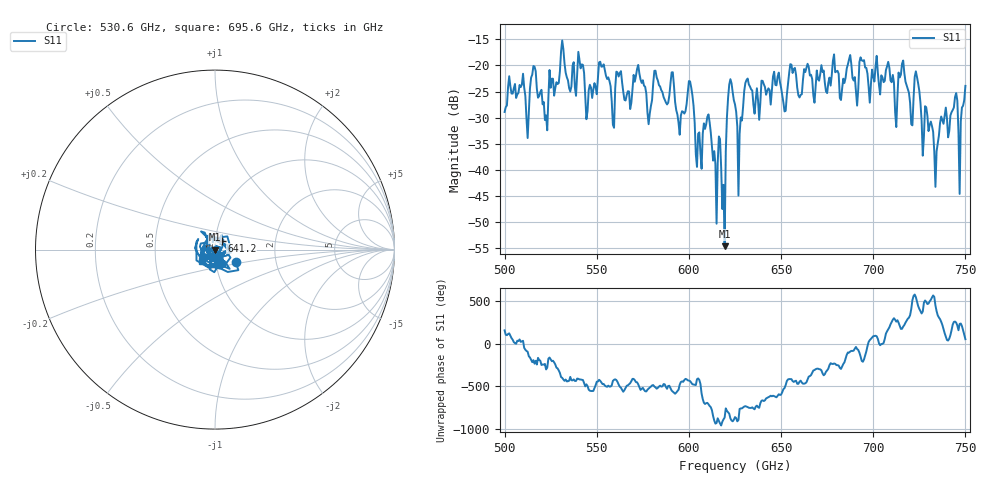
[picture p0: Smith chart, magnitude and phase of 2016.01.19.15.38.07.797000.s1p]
!Created with skrf (http://scikit-rf.org).
# GHz S RI R 50.0
!freq ReS11 ImS11
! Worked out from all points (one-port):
!   401 points, 500 GHz to 750 GHz, reference 50 ohm
!   lowest |S11| = -54.6 dB at 619.4 GHz (marker M1), VSWR 1.00, Z = 49.8 - j0.0958 ohm
!   |S11| at or under -10 dB: start of sweep to end of sweep
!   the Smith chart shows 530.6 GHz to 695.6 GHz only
!   S11 on the Smith chart (normalised r, x): 530.6 GHz: 1.25, -0.18; 641.2 GHz: 1.07, +0.11; 695.6 GHz: 0.86, -0.11
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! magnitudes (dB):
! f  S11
! 500 GHz  -28.9
! 512.5 GHz  -33.9
! 515.6 GHz  -20.1
! 521.9 GHz  -30.5
! 530.6 GHz  -17.4
! 531.2 GHz  -15.2
! 545 GHz  -28.7
! 562.5 GHz  -21.5
! 578.8 GHz  -29.2
! 590.6 GHz  -21.3
! 593.8 GHz  -29.4
! 600.6 GHz  -23.1
! 605 GHz  -33.1
! 610.6 GHz  -29.4
! 619.4 GHz  -54.6
! 621.9 GHz  -23.7
! 625 GHz  -27.5
! 627.5 GHz  -33.1
! 631.2 GHz  -22.8
! 641.2 GHz  -24.1
! 656.2 GHz  -21.4
! 687.5 GHz  -18.0
! 695.6 GHz  -20.4
! 718.8 GHz  -24.5
! 723.8 GHz  -22.2
! 734.4 GHz  -36.4
! 747.5 GHz  -30.7
! 750 GHz  -23.9
